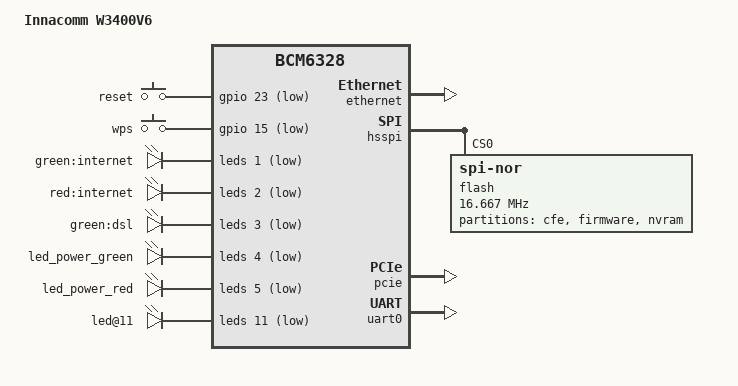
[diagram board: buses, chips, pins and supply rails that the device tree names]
// SPDX-License-Identifier: GPL-2.0-or-later

#include "bcm6328.dtsi"

/ {
	model = "Innacomm W3400V6";
	compatible = "innacomm,w3400v6", "brcm,bcm6328";

	aliases {
		led-boot = &led_power_green;
		led-failsafe = &led_power_red;
		led-running = &led_power_green;
		led-upgrade = &led_power_green;
	};

	keys {
		compatible = "gpio-keys-polled";
		poll-interval = <100>;

		reset {
			label = "reset";
			gpios = <&gpio 23 GPIO_ACTIVE_LOW>;
			linux,code = <KEY_RESTART>;
			debounce-interval = <60>;
		};

		wps {
			label = "wps";
			gpios = <&gpio 15 GPIO_ACTIVE_LOW>;
			linux,code = <KEY_WPS_BUTTON>;
			debounce-interval = <60>;
		};
	};

	bcm4318-sprom {
		compatible = "brcm,bcma-sprom";

		pci-bus = <1>;
		pci-dev = <0>;

		nvmem-cells = <&macaddr_cfe_6a0 1>;
		nvmem-cell-names = "mac-address";

		brcm,sprom = "brcm/bcm4318-sprom.bin";
	};
};

&ethernet {
	status = "okay";

	nvmem-cells = <&macaddr_cfe_6a0 0>;
	nvmem-cell-names = "mac-address";
};

&hsspi {
	status = "okay";

	flash@0 {
		compatible = "jedec,spi-nor";
		spi-max-frequency = <16666667>;
		spi-tx-bus-width = <2>;
		spi-rx-bus-width = <2>;
		reg = <0>;

		#address-cells = <1>;
		#size-cells = <1>;

		partitions {
			compatible = "fixed-partitions";
			#address-cells = <1>;
			#size-cells = <1>;

			partition@0 {
				reg = <0x000000 0x010000>;
				label = "cfe";
				read-only;

				nvmem-layout {
					compatible = "fixed-layout";
					#address-cells = <1>;
					#size-cells = <1>;

					macaddr_cfe_6a0: macaddr@6a0 {
						compatible = "mac-base";
						reg = <0x6a0 0x6>;
						#nvmem-cell-cells = <1>;
					};
				};
			};

			partition@10000 {
				compatible = "brcm,bcm963xx-imagetag";
				reg = <0x010000 0x7e0000>;
				label = "firmware";
			};

			partition@7f0000 {
				reg = <0x7f0000 0x010000>;
				label = "nvram";
			};
		};
	};
};

&leds {
	status = "okay";

	pinctrl-names = "default";
	pinctrl-0 = <&pinctrl_leds>;

	led@1 {
		reg = <1>;
		active-low;
		label = "green:internet";
	};

	led@2 {
		reg = <2>;
		active-low;
		label = "red:internet";
	};

	led@3 {
		reg = <3>;
		active-low;
		label = "green:dsl";
	};

	led_power_green: led@4 {
		reg = <4>;
		active-low;
		function = LED_FUNCTION_POWER;
		color = <LED_COLOR_ID_GREEN>;
		default-state = "on";
	};

	led_power_red: led@5 {
		reg = <5>;
		active-low;
		function = LED_FUNCTION_POWER;
		color = <LED_COLOR_ID_RED>;
		panic-indicator;
	};

	led@11 {
		reg = <11>;
		active-low;
		function = LED_FUNCTION_WPS;
		color = <LED_COLOR_ID_GREEN>;
	};
};

&pcie {
	status = "okay";
};

&pinctrl {
	pinctrl_leds: leds {
		function = "led";
		pins = "gpio1", "gpio2", "gpio3",
		       "gpio4", "gpio5", "gpio11";
	};
};

&switch0 {
	ports {
		port@0 {
			reg = <0>;
			label = "lan4";

			phy-handle = <&phy1>;
			phy-mode = "mii";
		};

		port@1 {
			reg = <1>;
			label = "lan3";

			phy-handle = <&phy2>;
			phy-mode = "mii";
		};

		port@2 {
			reg = <2>;
			label = "lan2";

			phy-handle = <&phy3>;
			phy-mode = "mii";
		};

		port@3 {
			reg = <3>;
			label = "lan1";

			phy-handle = <&phy4>;
			phy-mode = "mii";
		};
	};
};

&uart0 {
	status = "okay";
};
